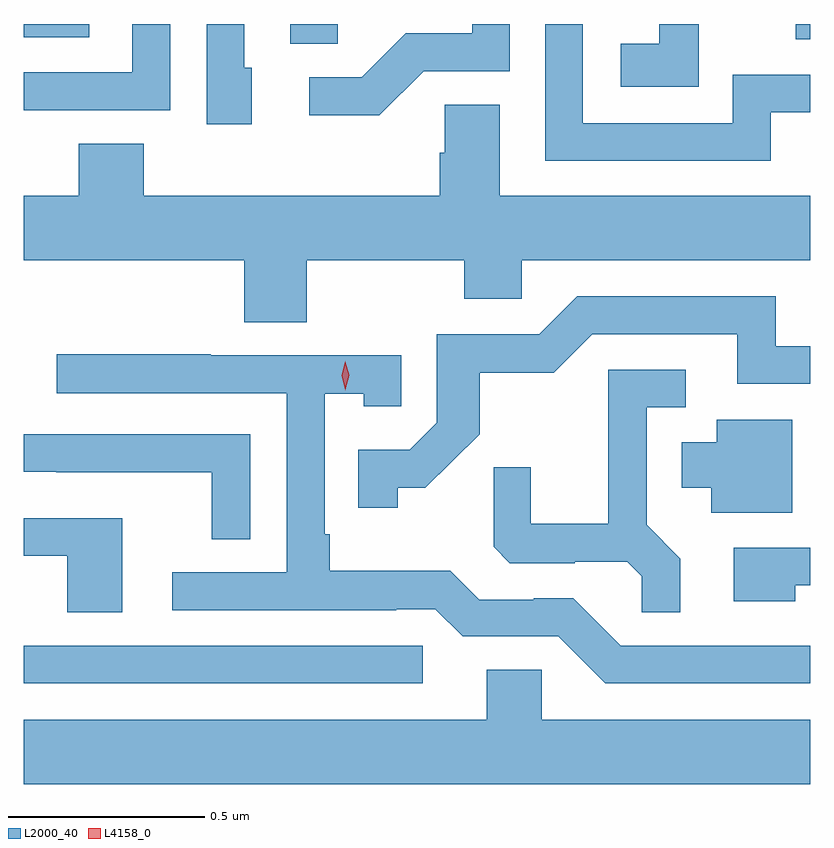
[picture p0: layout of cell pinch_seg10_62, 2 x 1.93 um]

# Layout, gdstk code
import gdstk
lib = gdstk.Library(unit=1e-6, precision=1e-09)
def R(c, l, rs):  # rectangles x0, y0, x1, y1
    for r in rs: c.add(gdstk.rectangle(r[:2], r[2:], *l))
def P(c, l, *ps):  # polygons
    for p in ps: c.add(gdstk.Polygon(p, *l))
L2000_40 = (2000, 40)
L4158_0 = (4158, 0)

pinch_seg10_62 = lib.new_cell('pinch_seg10_62')
R(pinch_seg10_62, L2000_40, [(839.565,1297.908,840.58,1298.004), (840.242,1299.535,840.363,1299.585), (841.528,1299.546,841.565,1299.585), (839.565,1299.551,839.731,1299.585)])
P(pinch_seg10_62, L2000_40, [(840.582,1299.465),(840.801,1299.465),(840.801,1299.585),(840.705,1299.585),(840.705,1299.561),(840.536,1299.561),(840.425,1299.45),(840.291,1299.45),(840.291,1299.353),(840.469,1299.353)],
  [(841.281,1299.585),(841.181,1299.585),(841.181,1299.535),(841.083,1299.535),(841.083,1299.425),(841.281,1299.425)],
  [(839.621,1299.366),(839.937,1299.366),(839.937,1299.585),(839.841,1299.585),(839.841,1299.462),(839.565,1299.462),(839.565,1299.365),(839.621,1299.365)],
  [(840.145,1299.474),(840.126,1299.474),(840.126,1299.585),(840.03,1299.585),(840.03,1299.33),(840.145,1299.33)],
  [(841.465,1299.36),(841.565,1299.36),(841.565,1299.456),(841.368,1299.456),(841.368,1299.333),(840.987,1299.333),(840.987,1299.585),(840.891,1299.585),(840.891,1299.237),(841.465,1299.237)],
  [(840.285,1298.984),(840.685,1298.984),(840.685,1298.886),(840.831,1298.886),(840.831,1298.984),(841.565,1298.984),(841.565,1299.148),(840.775,1299.148),(840.775,1299.38),(840.636,1299.38),(840.636,1299.257),(840.623,1299.257),(840.623,1299.148),(839.87,1299.148),(839.87,1299.281),(839.705,1299.281),(839.705,1299.148),(839.565,1299.148),(839.565,1298.984),(840.125,1298.984),(840.125,1298.827),(840.285,1298.827)],
  [(840.516,1298.405),(840.586,1298.405),(840.724,1298.542),(840.724,1298.698),(840.913,1298.698),(841.011,1298.796),(841.379,1298.796),(841.379,1298.67),(841.565,1298.67),(841.565,1298.766),(841.478,1298.766),(841.478,1298.892),(840.972,1298.892),(840.876,1298.796),(840.615,1298.796),(840.615,1298.571),(840.546,1298.502),(840.415,1298.502),(840.415,1298.355),(840.516,1298.355)],
  [(841.565,1298.004),(841.083,1298.004),(840.963,1298.124),(840.862,1298.124),(840.862,1298.121),(840.723,1298.121),(840.65,1298.194),(840.343,1298.194),(840.343,1298.287),(840.33,1298.287),(840.33,1298.645),(840.429,1298.645),(840.429,1298.613),(840.525,1298.613),(840.525,1298.742),(840.041,1298.742),(840.041,1298.745),(839.649,1298.745),(839.649,1298.646),(840.234,1298.646),(840.234,1298.19),(839.943,1298.19),(839.943,1298.094),(840.512,1298.094),(840.512,1298.097),(840.612,1298.097),(840.681,1298.028),(840.924,1298.028),(841.044,1297.908),(841.565,1297.908)],
  [(841.235,1298.225),(841.149,1298.311),(841.149,1298.61),(841.249,1298.61),(841.249,1298.706),(841.052,1298.706),(841.052,1298.314),(840.854,1298.314),(840.854,1298.457),(840.76,1298.457),(840.76,1298.255),(840.801,1298.214),(840.966,1298.214),(840.966,1298.217),(841.1,1298.217),(841.137,1298.18),(841.137,1298.089),(841.235,1298.089)],
  [(841.519,1298.578),(841.328,1298.578),(841.328,1298.521),(841.238,1298.521),(841.238,1298.405),(841.313,1298.405),(841.313,1298.342),(841.519,1298.342)],
  [(840.141,1298.541),(839.565,1298.541),(839.565,1298.446),(839.647,1298.446),(839.647,1298.445),(840.043,1298.445),(840.043,1298.275),(840.141,1298.275)],
  [(839.815,1298.328),(839.565,1298.328),(839.565,1298.232),(839.675,1298.232),(839.675,1298.089),(839.815,1298.089)],
  [(841.527,1298.157),(841.565,1298.157),(841.565,1298.253),(841.371,1298.253),(841.371,1298.117),(841.527,1298.117)],
  [(841.565,1297.816),(840.882,1297.816),(840.882,1297.943),(840.743,1297.943),(840.743,1297.816),(839.565,1297.816),(839.565,1297.652),(841.565,1297.652)])
P(pinch_seg10_62, L4158_0, [(840.383,1298.654),(840.383,1298.655),(840.373,1298.691),(840.383,1298.726),(840.383,1298.727),(840.383,1298.726),(840.393,1298.691),(840.383,1298.655)])

lib.write_gds('pinch_seg10_62.gds')
